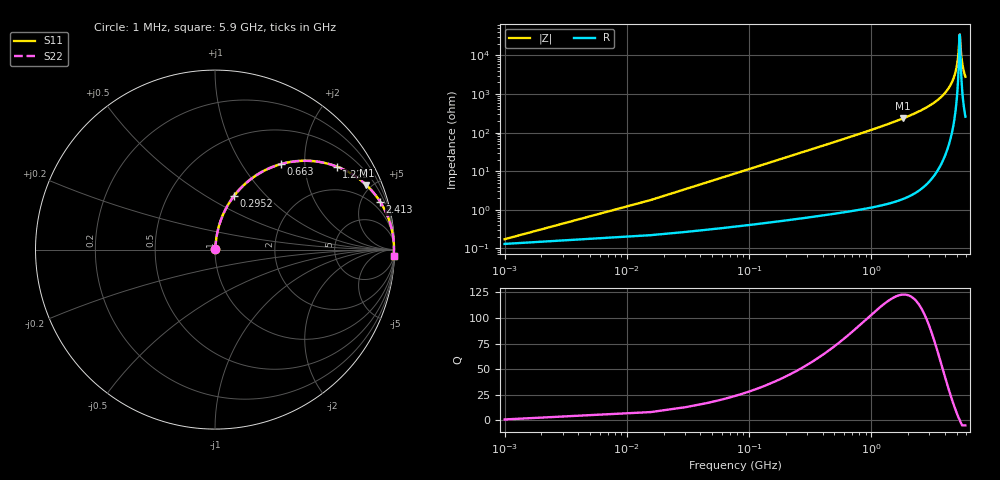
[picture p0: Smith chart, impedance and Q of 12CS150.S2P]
! Coilcraft 1206CS-150 Chip Inductor
! 29 July 2002
# MHZ S MA R 50
!Freq  MagS11  AngS11  MagS21  AngS21  MagS12  AngS12  MagS22  AngS22
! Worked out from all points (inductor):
!   403 points, 1 MHz to 5.9 GHz, reference 50 ohm
!   read as one part in series: L = 18 nH near 30.42 MHz
!   highest Q = 123 at 1.825 GHz (marker M1), where L = 20.4 nH
!   self-resonance near 5.297 GHz
!   S11 on the Smith chart (normalised r, x): 1 MHz: 1.00, +0.00; 295.2 MHz: 1.01, +0.67; 663 MHz: 1.02, +1.52; 1.222 GHz: 1.03, +2.92; 2.413 GHz: 1.06, +6.88; 5.9 GHz: 6, -56
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1  0.001722 40.9  0.9987 -0.1  0.9987 -0.1  0.001722 40.9
45.13  0.05091 83.7  0.9957 -2.9  0.9957 -2.9  0.05091 83.7
74.55  0.08381 82.7  0.9929 -4.8  0.9929 -4.8  0.08381 82.7
162.81  0.1805 78.1  0.9788 -10.4  0.9788 -10.4  0.1805 78.1
295.2  0.3159 70.5  0.943 -18.4  0.943 -18.4  0.3159 70.5
662.95  0.6025 52.3  0.791 -37.0  0.791 -37.0  0.6025 52.3
986.57  0.7526 40.6  0.6512 -48.8  0.6512 -48.8  0.7526 40.6
1221.93  0.8215 34.3  0.5629 -55.2  0.5629 -55.2  0.8215 34.3
1825.04  0.9169 23.1  0.3917 -66.5  0.3917 -66.5  0.9169 23.1
1972.14  0.9302 21.1  0.3594 -68.5  0.3594 -68.5  0.9302 21.1
2413.44  0.9581 16.2  0.2784 -73.3  0.2784 -73.3  0.9581 16.2
2957.71  0.9774 11.6  0.2014 -77.8  0.2014 -77.8  0.9774 11.6
3943.28  0.9928 5.7  0.09966 -83.0  0.09966 -83.0  0.9928 5.7
4546.39  0.9963 3.0  0.05153 -84.4  0.05153 -84.4  0.9963 3.0
4928.85  0.9971 1.4  0.02463 -82.6  0.02463 -82.6  0.9971 1.4
5120.08  0.9972 0.7  0.01214 -76.4  0.01214 -76.4  0.9972 0.7
5281.89  0.9972 0.1  0.003179 -27.8  0.003179 -27.8  0.9972 0.1
5311.31  0.9972 -0.0  0.002851 7.2  0.002851 7.2  0.9972 -0.0
5428.99  0.9971 -0.4  0.008174 68.7  0.008174 68.7  0.9971 -0.4
5531.96  0.9969 -0.8  0.0142 77.1  0.0142 77.1  0.9969 -0.8
5693.77  0.9966 -1.3  0.02367 81.1  0.02367 81.1  0.9966 -1.3
5900  0.9961 -2.0  0.03546 82.7  0.03546 82.7  0.9961 -2.0
